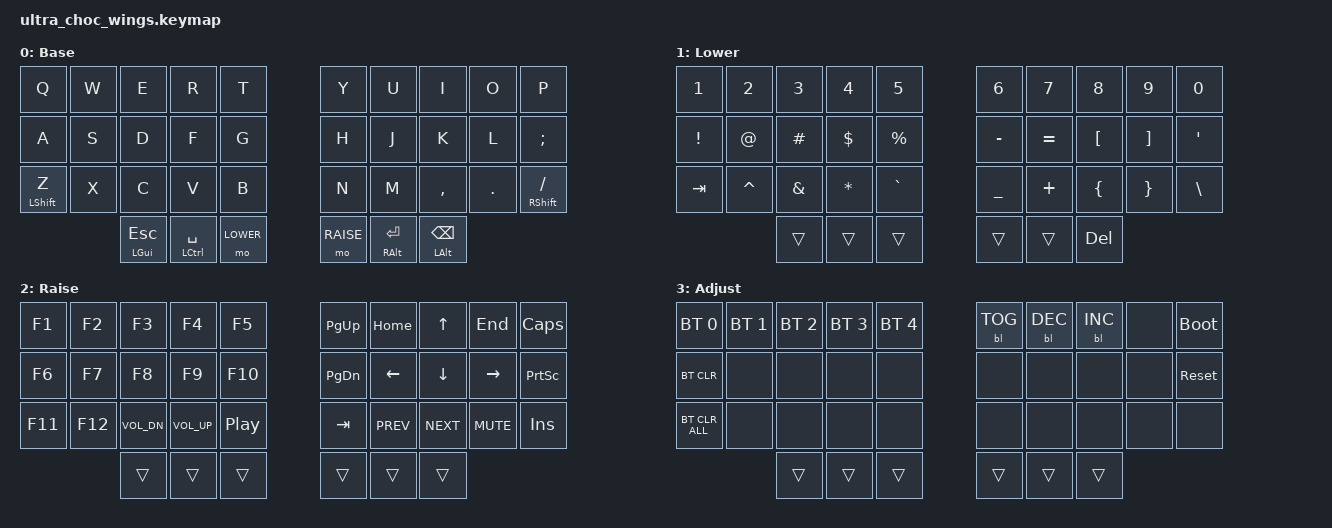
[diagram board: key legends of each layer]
/*
 * Ultra Choc Wings default keymap (36 keys, QWERTY).
 *
 *  BASE   ╭ Q  W  E  R  T ╮   ╭ Y  U  I  O  P ╮
 *         │ A  S  D  F  G │   │ H  J  K  L  ; │
 *         │ Z  X  C  V  B │   │ N  M  ,  .  / │
 *         ╰  ESC SPC LWR  ╯   ╰ RSE ENT BSPC ╯
 *
 * LOWER: numbers and symbols. RAISE: navigation and F-keys.
 * LOWER + RAISE = ADJUST: Bluetooth, LED backlight, bootloader.
 *
 * The per-key LEDs are off by default to protect the coin cell. Toggle them
 * on the ADJUST layer; they also switch off by themselves when idle.
 */

#include <behaviors.dtsi>
#include <dt-bindings/zmk/keys.h>
#include <dt-bindings/zmk/bt.h>
#include <dt-bindings/zmk/backlight.h>

#define BASE 0
#define LOWER 1
#define RAISE 2
#define ADJUST 3

&mt {
    flavor = "tap-preferred";
    tapping-term-ms = <200>;
    quick-tap-ms = <150>;
};

/ {
    conditional_layers {
        compatible = "zmk,conditional-layers";
        adjust {
            if-layers = <LOWER RAISE>;
            then-layer = <ADJUST>;
        };
    };

    keymap {
        compatible = "zmk,keymap";

        base {
            display-name = "Base";
            bindings = <
&kp Q        &kp W   &kp E     &kp R       &kp T           &kp Y      &kp U       &kp I      &kp O     &kp P
&kp A        &kp S   &kp D     &kp F       &kp G           &kp H      &kp J       &kp K      &kp L     &kp SEMI
&mt LSHFT Z  &kp X   &kp C     &kp V       &kp B           &kp N      &kp M       &kp COMMA  &kp DOT   &mt RSHFT FSLH
                     &mt LGUI ESC  &mt LCTRL SPACE  &mo LOWER    &mo RAISE  &mt RALT RET  &mt LALT BSPC
            >;
        };

        lower {
            display-name = "Lower";
            bindings = <
&kp N1       &kp N2    &kp N3    &kp N4     &kp N5          &kp N6     &kp N7     &kp N8     &kp N9    &kp N0
&kp EXCL     &kp AT    &kp HASH  &kp DLLR   &kp PRCNT       &kp MINUS  &kp EQUAL  &kp LBKT   &kp RBKT  &kp SQT
&kp TAB      &kp CARET &kp AMPS  &kp STAR   &kp GRAVE       &kp UNDER  &kp PLUS   &kp LBRC   &kp RBRC  &kp BSLH
                       &trans    &trans     &trans          &trans     &trans     &kp DEL
            >;
        };

        raise {
            display-name = "Raise";
            bindings = <
&kp F1       &kp F2    &kp F3    &kp F4     &kp F5          &kp PG_UP  &kp HOME   &kp UP     &kp END    &kp CAPS
&kp F6       &kp F7    &kp F8    &kp F9     &kp F10         &kp PG_DN  &kp LEFT   &kp DOWN   &kp RIGHT  &kp PSCRN
&kp F11      &kp F12   &kp C_VOL_DN &kp C_VOL_UP &kp C_PP   &kp TAB    &kp C_PREV &kp C_NEXT &kp C_MUTE &kp INS
                       &trans    &trans     &trans          &trans     &trans     &trans
            >;
        };

        adjust {
            display-name = "Adjust";
            bindings = <
&bt BT_SEL 0 &bt BT_SEL 1 &bt BT_SEL 2 &bt BT_SEL 3 &bt BT_SEL 4    &bl BL_TOG &bl BL_DEC &bl BL_INC &none &bootloader
&bt BT_CLR   &none        &none        &none        &none           &none      &none      &none      &none &sys_reset
&bt BT_CLR_ALL &none      &none        &none        &none           &none      &none      &none      &none &none
                          &trans       &trans       &trans          &trans     &trans     &trans
            >;
        };
    };
};
